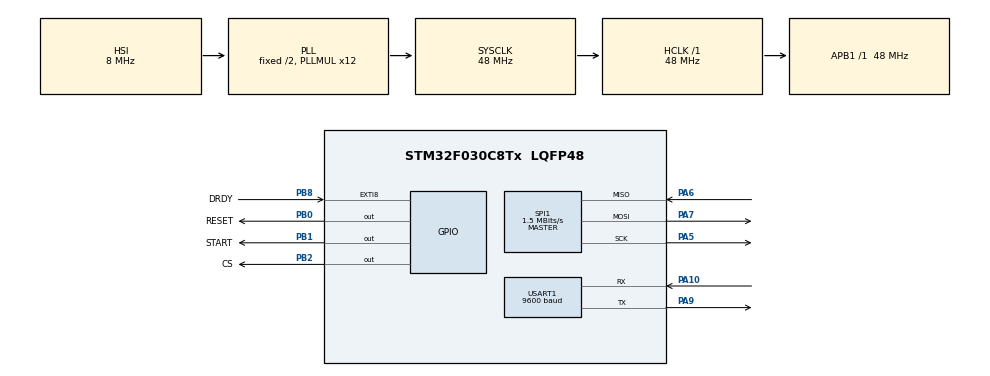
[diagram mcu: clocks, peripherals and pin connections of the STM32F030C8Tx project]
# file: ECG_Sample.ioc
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Dma.Request0=USART1_TX
Dma.USART1_TX.0.Direction=DMA_MEMORY_TO_PERIPH
Dma.USART1_TX.0.Instance=DMA1_Channel2
Dma.USART1_TX.0.MemDataAlignment=DMA_MDATAALIGN_BYTE
Dma.USART1_TX.0.MemInc=DMA_MINC_ENABLE
Dma.USART1_TX.0.Mode=DMA_NORMAL
Dma.USART1_TX.0.PeriphDataAlignment=DMA_PDATAALIGN_BYTE
Dma.USART1_TX.0.PeriphInc=DMA_PINC_DISABLE
Dma.USART1_TX.0.Priority=DMA_PRIORITY_LOW
Mcu.Family=STM32F0
Mcu.Name=STM32F030C8Tx
Mcu.Package=LQFP48
NVIC.DMA1_Channel2_3_IRQn=true\:0\:0\:false\:false\:true\:false\:true\:true
NVIC.EXTI4_15_IRQn=true\:1\:0\:true\:false\:true\:true\:true\:true
NVIC.USART1_IRQn=true\:2\:0\:true\:false\:true\:true\:true\:true
PA10.Mode=Asynchronous
PA10.Signal=USART1_RX
PA13.Mode=Serial_Wire
PA13.Signal=SYS_SWDIO
PA14.Mode=Serial_Wire
PA14.Signal=SYS_SWCLK
PA5.Mode=Full_Duplex_Master
PA5.Signal=SPI1_SCK
PA6.Mode=Full_Duplex_Master
PA6.Signal=SPI1_MISO
PA7.Mode=Full_Duplex_Master
PA7.Signal=SPI1_MOSI
PA9.Mode=Asynchronous
PA9.Signal=USART1_TX
PB0.GPIO_Label=RESET
PB0.GPIO_ModeDefaultOutputPP=GPIO_MODE_OUTPUT_PP
PB0.GPIO_PuPd=GPIO_NOPULL
PB0.GPIO_Speed=GPIO_SPEED_FREQ_HIGH
PB0.PinState=GPIO_PIN_SET
PB0.Signal=GPIO_Output
PB1.GPIO_Label=START
PB1.GPIO_ModeDefaultOutputPP=GPIO_MODE_OUTPUT_PP
PB1.GPIO_PuPd=GPIO_NOPULL
PB1.GPIO_Speed=GPIO_SPEED_FREQ_HIGH
PB1.PinState=GPIO_PIN_RESET
PB1.Signal=GPIO_Output
PB2.GPIO_Label=CS
PB2.GPIO_ModeDefaultOutputPP=GPIO_MODE_OUTPUT_PP
PB2.GPIO_PuPd=GPIO_NOPULL
PB2.GPIO_Speed=GPIO_SPEED_FREQ_HIGH
PB2.PinState=GPIO_PIN_SET
PB2.Signal=GPIO_Output
PB8.GPIO_Label=DRDY
PB8.GPIO_ModeDefaultEXTI=GPIO_MODE_IT_FALLING
PB8.GPIO_PuPd=GPIO_PULLUP
PB8.Signal=GPXTI8
ProjectManager.HeapSize=0x200
ProjectManager.StackSize=0x400
ProjectManager.TargetToolchain=STM32CubeIDE
RCC.AHBFreq_Value=48000000
RCC.APB1Freq_Value=48000000
RCC.APB1TimFreq_Value=48000000
RCC.HCLKFreq_Value=48000000
RCC.PLLMUL=RCC_PLL_MUL12
RCC.SYSCLKFreq_VALUE=48000000
RCC.SYSCLKSource=RCC_SYSCLKSOURCE_PLLCLK
SPI1.BaudRatePrescaler=SPI_BAUDRATEPRESCALER_32
SPI1.CLKPhase=SPI_PHASE_2EDGE
SPI1.CalculateBaudRate=1.5 MBits/s
SPI1.DataSize=SPI_DATASIZE_8BIT
SPI1.Direction=SPI_DIRECTION_2LINES
SPI1.Mode=SPI_MODE_MASTER
SPI1.VirtualType=VM_MASTER
TIM17.Prescaler=48-1
USART1.BaudRate=9600
USART1.VirtualMode-Asynchronous=VM_ASYNC
VP_TIM17_VS_ClockSourceINT.Mode=Enable_Timer
board=custom

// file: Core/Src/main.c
/* USER CODE BEGIN Header */
/**
  ******************************************************************************
  * @file           : main.c
  * @brief          : Main program body
  ******************************************************************************
  * @attention
  *
  * Copyright (c) 2023 STMicroelectronics.
  * All rights reserved.
  *
  * This software is licensed under terms that can be found in the LICENSE file
  * in the root directory of this software component.
  * If no LICENSE file comes with this software, it is provided AS-IS.
  *
  ******************************************************************************
  */
/* USER CODE END Header */
#include "main.h"
#include "dma.h"
#include "spi.h"
#include "tim.h"
#include "usart.h"
#include "gpio.h"

/* USER CODE BEGIN Includes */
#include "ads1292.h"
#include "stdio.h"
#include "string.h"
/* USER CODE END Includes */

/* USER CODE BEGIN PV */
uint8_t rxBuffer[MAX_BUF_LEN];
/* USER CODE END PV */

void SystemClock_Config(void);

int main(void)
{
  /* USER CODE BEGIN 1 */
    uint8_t sum;
    uint8_t txBuffer[MAX_BUF_LEN] = {0xAA, 0xAA, 0xF1, 0x08};
    uint8_t Mode_Info[MAX_INFO_LEN];
    uint32_t channels[2];
    int32_t p_Temp[2];
  /* USER CODE END 1 */

  /* MCU Configuration--------------------------------------------------------*/

  /* Reset of all peripherals, Initializes the Flash interface and the Systick. */
  HAL_Init();

  /* Configure the system clock */
  SystemClock_Config();

  /* Initialize all configured peripherals */
  MX_GPIO_Init();
  MX_DMA_Init();
  MX_SPI1_Init();
  MX_USART1_UART_Init();
  MX_TIM17_Init();
  /* USER CODE BEGIN 2 */
    HAL_NVIC_DisableIRQ(EXTI4_15_IRQn);
    ADS1292_PowerOnInit();

    while (Set_ADS1292_Collect(2)) {
        sprintf((char *)Mode_Info, "1292 register setting failed\r\n");
        HAL_UART_Transmit(&huart1, Mode_Info, strlen((char *) Mode_Info), 100);
    }
    sprintf((char *) Mode_Info, "1292 register setting success\r\n");
    HAL_UART_Transmit(&huart1, Mode_Info, strlen((char *) Mode_Info), 100);
    HAL_Delay(1000);

    HAL_NVIC_EnableIRQ(EXTI4_15_IRQn);
//    __HAL_UART_ENABLE_IT(&huart1, UART_IT_IDLE);
//    HAL_UARTEx_ReceiveToIdle_IT(&huart1, rxBuffer, MAX_BUF_LEN);
  /* USER CODE END 2 */

  /* Infinite loop */
  /* USER CODE BEGIN WHILE */
  while (1)
  {
      if (ads1292_receive_flag) {
          channels[0]= ads1292_Cache[3] << 16 | ads1292_Cache[4] << 8 | ads1292_Cache[5];
          channels[1]= ads1292_Cache[6] << 16 | ads1292_Cache[7] << 8 | ads1292_Cache[8];

          p_Temp[0] = Get_Voltage(channels[0]);
          p_Temp[1] = Get_Voltage(channels[1]);

          channels[0] = p_Temp[0];
          channels[1] = p_Temp[1];

          txBuffer[4] = channels[0] >> 24;
          txBuffer[5] = channels[0] >> 16;
          txBuffer[6] = channels[0] >> 8;
          txBuffer[7] = channels[0];

          txBuffer[8] = channels[1] >> 24;
          txBuffer[9] = channels[1] >> 16;
          txBuffer[10] = channels[1] >> 8;
          txBuffer[11] = channels[1];

          for (int i = 0; i < 12; i++)
              sum += txBuffer[i];
          txBuffer[12] = sum;
          HAL_UART_Transmit_DMA(&huart1, txBuffer, 13);
          HAL_UART_Transmit_DMA(&huart1, "\r\n", 2);
          ads1292_receive_flag = 0;
          sum = 0;
      }
    /* USER CODE END WHILE */

  }
}

void SystemClock_Config(void)
{
  RCC_OscInitTypeDef RCC_OscInitStruct = {0};
  RCC_ClkInitTypeDef RCC_ClkInitStruct = {0};
  RCC_PeriphCLKInitTypeDef PeriphClkInit = {0};

  /** Initializes the RCC Oscillators according to the specified parameters
  * in the RCC_OscInitTypeDef structure.
  */
  RCC_OscInitStruct.OscillatorType = RCC_OSCILLATORTYPE_HSI;
  RCC_OscInitStruct.HSIState = RCC_HSI_ON;
  RCC_OscInitStruct.HSICalibrationValue = RCC_HSICALIBRATION_DEFAULT;
  RCC_OscInitStruct.PLL.PLLState = RCC_PLL_ON;
  RCC_OscInitStruct.PLL.PLLSource = RCC_PLLSOURCE_HSI;
  RCC_OscInitStruct.PLL.PLLMUL = RCC_PLL_MUL12;
  RCC_OscInitStruct.PLL.PREDIV = RCC_PREDIV_DIV1;
  if (HAL_RCC_OscConfig(&RCC_OscInitStruct) != HAL_OK)
  {
    Error_Handler();
  }

  /** Initializes the CPU, AHB and APB buses clocks
  */
  RCC_ClkInitStruct.ClockType = RCC_CLOCKTYPE_HCLK|RCC_CLOCKTYPE_SYSCLK
                              |RCC_CLOCKTYPE_PCLK1;
  RCC_ClkInitStruct.SYSCLKSource = RCC_SYSCLKSOURCE_PLLCLK;
  RCC_ClkInitStruct.AHBCLKDivider = RCC_SYSCLK_DIV1;
  RCC_ClkInitStruct.APB1CLKDivider = RCC_HCLK_DIV1;

  if (HAL_RCC_ClockConfig(&RCC_ClkInitStruct, FLASH_LATENCY_1) != HAL_OK)
  {
    Error_Handler();
  }
  PeriphClkInit.PeriphClockSelection = RCC_PERIPHCLK_USART1;
  PeriphClkInit.Usart1ClockSelection = RCC_USART1CLKSOURCE_PCLK1;
  if (HAL_RCCEx_PeriphCLKConfig(&PeriphClkInit) != HAL_OK)
  {
    Error_Handler();
  }
}

/* USER CODE BEGIN 4 */
void HAL_GPIO_EXTI_Callback(uint16_t GPIO_Pin)
{
    if (GPIO_Pin == DRDY_Pin) {
        ADS1292_ReadData(ads1292_Cache);
        ads1292_receive_flag = 1;
    }
}

void HAL_UARTEx_RxEventCallback(UART_HandleTypeDef *huart, uint16_t Size)
{
    if (huart == &huart1) {
        if (!strncmp((char *) rxBuffer, "start", 5)) {

        }
        else if (!strncmp((char *) rxBuffer, "stop", 4)) {

        }
        else if (!strncmp((char *) rxBuffer, "reset", 5)) {
            ADS1292_PowerOnInit();
        }
    }
    memset(rxBuffer, 0, MAX_BUF_LEN);
}
/* USER CODE END 4 */

void Error_Handler(void)
{
  __disable_irq();
  while (1)
  {
  }
}
